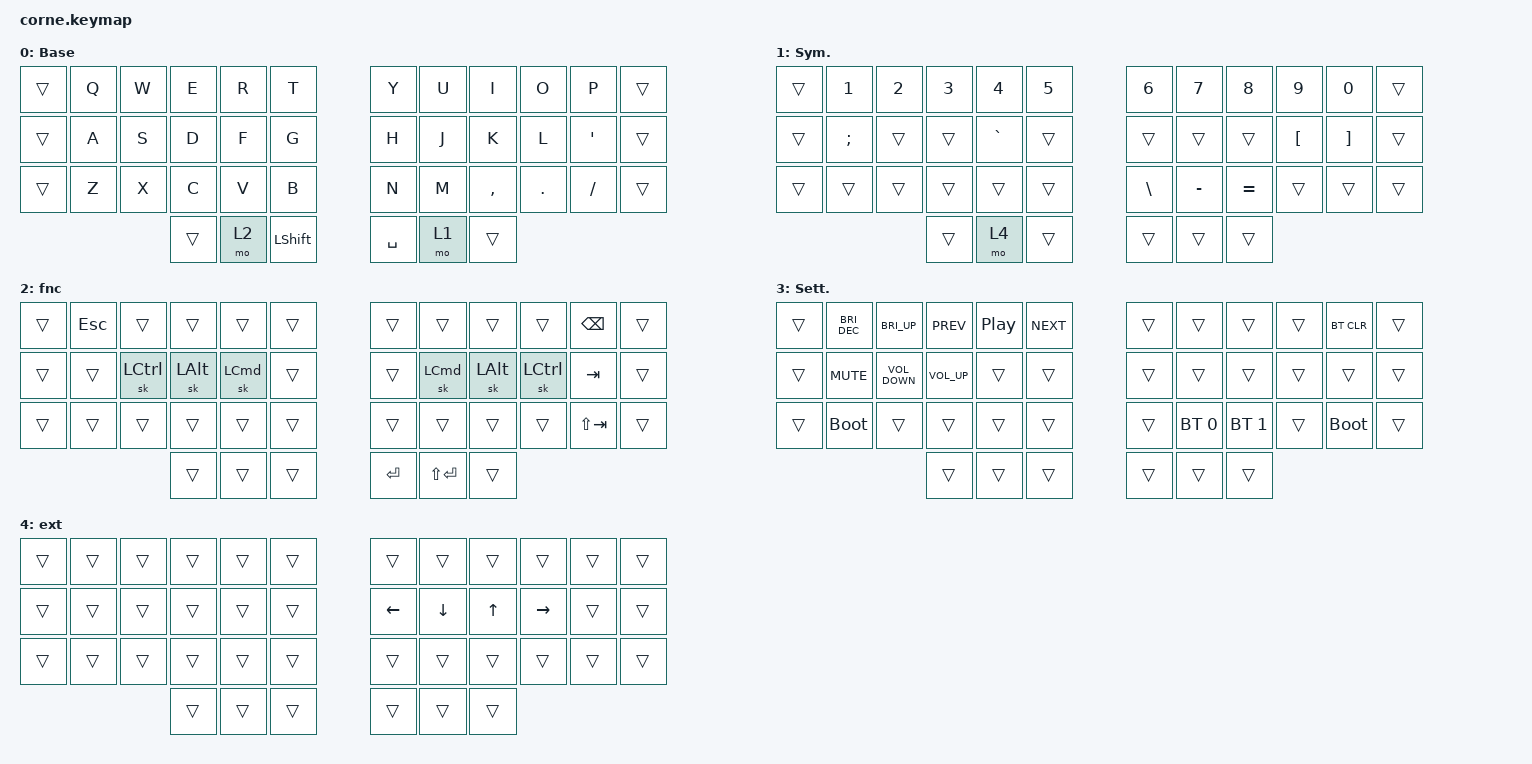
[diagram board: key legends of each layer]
/*
 * Copyright (c) 2020 The ZMK Contributors
 *
 * SPDX-License-Identifier: MIT
 */

#include <behaviors.dtsi>
#include <dt-bindings/zmk/bt.h>
#include <dt-bindings/zmk/keys.h>

#define HOLD_TAP_TAPPING_TERM 280
#define HOLD_TAP_QUICK_TAP 175
#define PRIOR_IDLE_MS 150

// Layer definitions

#define BASE 0
#define SYM 1
#define EXT 2
#define SETTINGS 3

// -----------------

/ {
    behaviors {
        // Left-hand HRMs
        // Right-hand HRMs
    };

    combos {
        compatible = "zmk,combos";

        settings_layer {
            bindings = <&mo 3>;
            key-positions = <39 40>;
            timeout-ms = <50>;
            require-prior-idle-ms = <PRIOR_IDLE_MS>;
        };
    };

    keymap {
        compatible = "zmk,keymap";

        base_layer {
            label = "Base";

            // -----------------------------------------------------------------------------------------
            // |  TAB |  Q  |  W  |  E  |  R  |  T  |   |  Y  |  U   |  I  |  O  |  P  | BSPC |
            // | CTRL |  A  |  S  |  D  |  F  |  G  |   |  H  |  J   |  K  |  L  |  ;  |  '   |
            // | SHFT |  Z  |  X  |  C  |  V  |  B  |   |  N  |  M   |  ,  |  .  |  /  | ESC  |
            //                    | GUI | LWR | SPC |   | ENT | RSE  | ALT |

            bindings = <
&trans  &kp Q  &kp W  &kp E   &kp R  &kp T             &kp Y      &kp U  &kp I      &kp O    &kp P             &trans
&trans  &kp A  &kp S  &kp D   &kp F  &kp G             &kp H      &kp J  &kp K      &kp L    &kp SINGLE_QUOTE  &trans
&trans  &kp Z  &kp X  &kp C   &kp V  &kp B             &kp N      &kp M  &kp COMMA  &kp DOT  &kp SLASH         &trans
                      &trans  &mo 2  &kp LEFT_SHIFT    &kp SPACE  &mo 1  &trans
            >;
        };

        sym_layer {
            label = "Sym.";
            bindings = <
&trans  &kp NUMBER_1   &kp NUMBER_2  &kp NUMBER_3  &kp NUMBER_4  &kp N5    &kp N6         &kp N7     &kp NUMBER_8  &kp N9            &kp N0             &trans
&trans  &kp SEMICOLON  &trans        &trans        &kp GRAVE     &trans    &trans         &trans     &trans        &kp LEFT_BRACKET  &kp RIGHT_BRACKET  &trans
&trans  &trans         &trans        &trans        &trans        &trans    &kp BACKSLASH  &kp MINUS  &kp EQUAL     &trans            &trans             &trans
                                     &trans        &mo 4         &trans    &trans         &trans     &trans
            >;
        };

        fnc_layer {
            label = "fnc";
            bindings = <
&trans  &kp ESCAPE  &trans            &trans        &trans            &trans    &trans     &trans            &trans        &trans            &kp BACKSPACE  &trans
&trans  &trans      &sk LEFT_CONTROL  &sk LEFT_ALT  &sk LEFT_COMMAND  &trans    &trans     &sk LEFT_COMMAND  &sk LEFT_ALT  &sk LEFT_CONTROL  &kp TAB        &trans
&trans  &trans      &trans            &trans        &trans            &trans    &trans     &trans            &trans        &trans            &kp LS(TAB)    &trans
                                      &trans        &trans            &trans    &kp ENTER  &kp LS(ENTER)     &trans
            >;
        };

        settings_layer {
            label = "Sett.";
            bindings = <
&trans  &kp C_BRIGHTNESS_DEC  &kp C_BRI_UP       &kp C_PREV       &kp C_PLAY_PAUSE  &kp C_NEXT    &trans  &trans        &trans        &trans  &bt BT_CLR   &trans
&trans  &kp C_MUTE            &kp C_VOLUME_DOWN  &kp C_VOLUME_UP  &trans            &trans        &trans  &trans        &trans        &trans  &trans       &trans
&trans  &bootloader           &trans             &trans           &trans            &trans        &trans  &bt BT_SEL 0  &bt BT_SEL 1  &trans  &bootloader  &trans
                                                 &trans           &trans            &trans        &trans  &trans        &trans
            >;
        };

        ext_layer {
            label = "ext";
            bindings = <
&trans  &trans  &trans  &trans  &trans  &trans    &trans    &trans          &trans        &trans     &trans  &trans
&trans  &trans  &trans  &trans  &trans  &trans    &kp LEFT  &kp DOWN_ARROW  &kp UP_ARROW  &kp RIGHT  &trans  &trans
&trans  &trans  &trans  &trans  &trans  &trans    &trans    &trans          &trans        &trans     &trans  &trans
                        &trans  &trans  &trans    &trans    &trans          &trans
            >;
        };
    };
};
